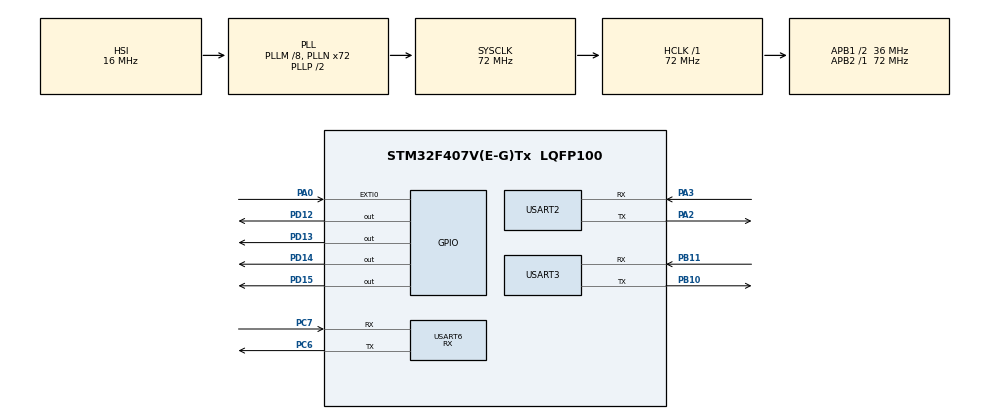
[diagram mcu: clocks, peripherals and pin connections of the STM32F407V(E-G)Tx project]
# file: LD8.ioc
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Mcu.Family=STM32F4
Mcu.Name=STM32F407V(E-G)Tx
Mcu.Package=LQFP100
NVIC.EXTI0_IRQn=true\:0\:0\:false\:true\:true\:3\:true\:true\:true
NVIC.PriorityGroup=NVIC_PRIORITYGROUP_0
NVIC.RCC_IRQn=true\:0\:0\:false\:false\:true\:true\:false\:true
NVIC.TIM2_IRQn=true\:0\:0\:false\:true\:true\:2\:true\:true\:true
NVIC.TIM3_IRQn=true\:0\:0\:false\:true\:true\:1\:true\:true\:true
NVIC.USART2_IRQn=true\:0\:0\:false\:true\:true\:4\:true\:true\:true
NVIC.USART3_IRQn=true\:0\:0\:false\:true\:true\:5\:true\:true\:true
NVIC.USART6_IRQn=true\:0\:0\:false\:true\:true\:6\:true\:true\:true
PA0-WKUP.Signal=GPXTI0
PA13.Mode=Serial_Wire
PA13.Signal=SYS_JTMS-SWDIO
PA14.Mode=Serial_Wire
PA14.Signal=SYS_JTCK-SWCLK
PA2.Mode=Asynchronous
PA2.Signal=USART2_TX
PA3.Mode=Asynchronous
PA3.Signal=USART2_RX
PB10.Mode=Asynchronous
PB10.Signal=USART3_TX
PB11.Mode=Asynchronous
PB11.Signal=USART3_RX
PC6.Mode=Asynchronous
PC6.Signal=USART6_TX
PC7.Mode=Asynchronous
PC7.Signal=USART6_RX
PD12.Signal=GPIO_Output
PD13.Signal=GPIO_Output
PD14.Signal=GPIO_Output
PD15.Signal=GPIO_Output
PH0-OSC_IN.Mode=HSE-External-Clock-Source
PH0-OSC_IN.Signal=RCC_OSC_IN
PH1-OSC_OUT.Mode=HSE-External-Clock-Source
PH1-OSC_OUT.Signal=RCC_OSC_OUT
ProjectManager.HeapSize=0x200
ProjectManager.StackSize=0x400
ProjectManager.TargetToolchain=STM32CubeIDE
RCC.48MHZClocksFreq_Value=20571428.57142857
RCC.AHBFreq_Value=72000000
RCC.APB1CLKDivider=RCC_HCLK_DIV2
RCC.APB1Freq_Value=36000000
RCC.APB1TimFreq_Value=72000000
RCC.APB2Freq_Value=72000000
RCC.APB2TimFreq_Value=72000000
RCC.CortexFreq_Value=72000000
RCC.HCLKFreq_Value=72000000
RCC.HSE_VALUE=8000000
RCC.HSI_VALUE=16000000
RCC.LSE_VALUE=32768
RCC.PLLM=8
RCC.PLLN=72
RCC.PLLQ=7
RCC.SYSCLKFreq_VALUE=72000000
RCC.SYSCLKSource=RCC_SYSCLKSOURCE_PLLCLK
RCC.VCOOutputFreq_Value=144000000
TIM2.Period=20000
TIM2.Prescaler=35999
TIM3.Period=8000
TIM3.Prescaler=36000-1
USART2.VirtualMode=VM_ASYNC
USART3.VirtualMode=VM_ASYNC
USART6.Mode=MODE_RX
USART6.VirtualMode=VM_ASYNC
VP_TIM2_VS_ClockSourceINT.Mode=Internal
VP_TIM3_VS_ClockSourceINT.Mode=Internal
board=STM32F407G-DISC1

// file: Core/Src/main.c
/* USER CODE BEGIN Header */
/**
  ******************************************************************************
  * @file           : main.c
  * @brief          : Main program body
  ******************************************************************************
  * @attention
  *
  * Copyright (c) 2024 STMicroelectronics.
  * All rights reserved.
  *
  * This software is licensed under terms that can be found in the LICENSE file
  * in the root directory of this software component.
  * If no LICENSE file comes with this software, it is provided AS-IS.
  *
  ******************************************************************************
  */
/* USER CODE END Header */
#include "main.h"

/* USER CODE BEGIN Includes */
 extern uint32_t trans_var[];
 extern uint32_t i;
/* USER CODE END Includes */

TIM_HandleTypeDef htim2;
TIM_HandleTypeDef htim3;

UART_HandleTypeDef huart2;
UART_HandleTypeDef huart3;
UART_HandleTypeDef huart6;

/* USER CODE BEGIN PV */

uint32_t Correct_value = 10;
uint32_t inputCaptureVal  = 0;
uint32_t pressDuration  = 0;
uint32_t pressStartTime  = 0;
uint32_t check  = 0;
/* USER CODE END PV */

void SystemClock_Config(void);
static void MX_GPIO_Init(void);
static void MX_TIM2_Init(void);
static void MX_TIM3_Init(void);
static void MX_USART2_UART_Init(void);
static void MX_USART3_UART_Init(void);
static void MX_USART6_UART_Init(void);
static void MX_NVIC_Init(void);

/* USER CODE BEGIN 0 */
void HAL_GPIO_EXTI_Callback(uint16_t GPIO_Pin) {

	pressDuration = 0;
	TIM2->CNT = 0;
    if (GPIO_Pin == GPIO_PIN_0) {
//        if (HAL_GPIO_ReadPin(GPIOA, GPIO_PIN_0) == GPIO_PIN_RESET) {
//            // Button is pressed, start TIM2
//        	TIM2->CNT = 0;
//            pressStartTime = HAL_GetTick(); // Record the start time
   // }

            // Button is released, stop TIM2

            uint32_t pressEndTime = HAL_GetTick();
            pressDuration = pressEndTime - pressStartTime; // Calculate press duration
        }
        if(pressDuration > 1 && pressDuration < 1500)
                {
        	//HAL_GPIO_TogglePin(GPIOD, GPIO_PIN_13);

        	if(trans_var[i] > 8 )
        	{
        		//HAL_GPIO_TogglePin(GPIOD, GPIO_PIN_13);
        		//check = 1;
        		HAL_TIM_Base_Stop_IT(&htim3);
        	}
                //	HAL_GPIO_WritePin(GPIOD, GPIO_PIN_12, GPIO_PIN_SET);
                //	HAL_GPIO_WritePin(GPIOD, GPIO_PIN_15, GPIO_PIN_RESET);
                }
        if(pressDuration >= 1500)
        {

        	if(trans_var[i] >8 )
        	{
        		//check = 0;
        		HAL_TIM_Base_Start_IT(&htim3);
        	}
        	//HAL_GPIO_TogglePin(GPIOD, GPIO_PIN_12);
        //	HAL_GPIO_WritePin(GPIOD, GPIO_PIN_12, GPIO_PIN_RESET);
        }
        pressDuration = 0;
    }

/* USER CODE END 0 */

int main(void)
{

  /* MCU Configuration--------------------------------------------------------*/

  /* Reset of all peripherals, Initializes the Flash interface and the Systick. */
  HAL_Init();

  /* Configure the system clock */
  SystemClock_Config();

  /* Initialize all configured peripherals */
  MX_GPIO_Init();
  MX_TIM2_Init();
  MX_TIM3_Init();
  MX_USART2_UART_Init();
  MX_USART3_UART_Init();
  MX_USART6_UART_Init();

  /* Initialize interrupts */
  MX_NVIC_Init();
  /* USER CODE BEGIN 2 */
  //HAL_TIM_Base_Start_IT(&htim2);
  //HAL_TIM_Base_Start(&htim2);
  HAL_TIM_Base_Start(&htim2);
  HAL_TIM_Base_Start_IT(&htim3);
  //HAL_ADC_Start_IT(&hadc1);
  /* USER CODE END 2 */

  /* Infinite loop */
  /* USER CODE BEGIN WHILE */
  while (1)
  {
	//  HAL_Delay(500);

	         if (HAL_GPIO_ReadPin(GPIOA, GPIO_PIN_0) == GPIO_PIN_RESET) {
	             // Button is pressed, start TIM2
	         	TIM2->CNT = 0;
	             pressStartTime = HAL_GetTick(); // Record the start time
	         }

    /* USER CODE END WHILE */

  }
}

void SystemClock_Config(void)
{
  RCC_OscInitTypeDef RCC_OscInitStruct = {0};
  RCC_ClkInitTypeDef RCC_ClkInitStruct = {0};

  /** Configure the main internal regulator output voltage
  */
  __HAL_RCC_PWR_CLK_ENABLE();
  __HAL_PWR_VOLTAGESCALING_CONFIG(PWR_REGULATOR_VOLTAGE_SCALE1);

  /** Initializes the RCC Oscillators according to the specified parameters
  * in the RCC_OscInitTypeDef structure.
  */
  RCC_OscInitStruct.OscillatorType = RCC_OSCILLATORTYPE_HSI;
  RCC_OscInitStruct.HSIState = RCC_HSI_ON;
  RCC_OscInitStruct.HSICalibrationValue = RCC_HSICALIBRATION_DEFAULT;
  RCC_OscInitStruct.PLL.PLLState = RCC_PLL_ON;
  RCC_OscInitStruct.PLL.PLLSource = RCC_PLLSOURCE_HSI;
  RCC_OscInitStruct.PLL.PLLM = 8;
  RCC_OscInitStruct.PLL.PLLN = 72;
  RCC_OscInitStruct.PLL.PLLP = RCC_PLLP_DIV2;
  RCC_OscInitStruct.PLL.PLLQ = 7;
  if (HAL_RCC_OscConfig(&RCC_OscInitStruct) != HAL_OK)
  {
    Error_Handler();
  }

  /** Initializes the CPU, AHB and APB buses clocks
  */
  RCC_ClkInitStruct.ClockType = RCC_CLOCKTYPE_HCLK|RCC_CLOCKTYPE_SYSCLK
                              |RCC_CLOCKTYPE_PCLK1|RCC_CLOCKTYPE_PCLK2;
  RCC_ClkInitStruct.SYSCLKSource = RCC_SYSCLKSOURCE_PLLCLK;
  RCC_ClkInitStruct.AHBCLKDivider = RCC_SYSCLK_DIV1;
  RCC_ClkInitStruct.APB1CLKDivider = RCC_HCLK_DIV2;
  RCC_ClkInitStruct.APB2CLKDivider = RCC_HCLK_DIV1;

  if (HAL_RCC_ClockConfig(&RCC_ClkInitStruct, FLASH_LATENCY_2) != HAL_OK)
  {
    Error_Handler();
  }
}

/**
  * @brief NVIC Configuration.
  * @retval None
  */
static void MX_NVIC_Init(void)
{
  /* TIM3_IRQn interrupt configuration */
  HAL_NVIC_SetPriority(TIM3_IRQn, 0, 0);
  HAL_NVIC_EnableIRQ(TIM3_IRQn);
  /* TIM2_IRQn interrupt configuration */
  HAL_NVIC_SetPriority(TIM2_IRQn, 0, 0);
  HAL_NVIC_EnableIRQ(TIM2_IRQn);
  /* EXTI0_IRQn interrupt configuration */
  HAL_NVIC_SetPriority(EXTI0_IRQn, 0, 0);
  HAL_NVIC_EnableIRQ(EXTI0_IRQn);
  /* USART2_IRQn interrupt configuration */
  HAL_NVIC_SetPriority(USART2_IRQn, 0, 0);
  HAL_NVIC_EnableIRQ(USART2_IRQn);
  /* USART3_IRQn interrupt configuration */
  HAL_NVIC_SetPriority(USART3_IRQn, 0, 0);
  HAL_NVIC_EnableIRQ(USART3_IRQn);
  /* USART6_IRQn interrupt configuration */
  HAL_NVIC_SetPriority(USART6_IRQn, 0, 0);
  HAL_NVIC_EnableIRQ(USART6_IRQn);
}

static void MX_TIM2_Init(void)
{

  TIM_ClockConfigTypeDef sClockSourceConfig = {0};
  TIM_MasterConfigTypeDef sMasterConfig = {0};

  htim2.Instance = TIM2;
  htim2.Init.Prescaler = 35999;
  htim2.Init.CounterMode = TIM_COUNTERMODE_UP;
  htim2.Init.Period = 20000;
  htim2.Init.ClockDivision = TIM_CLOCKDIVISION_DIV1;
  htim2.Init.AutoReloadPreload = TIM_AUTORELOAD_PRELOAD_DISABLE;
  if (HAL_TIM_Base_Init(&htim2) != HAL_OK)
  {
    Error_Handler();
  }
  sClockSourceConfig.ClockSource = TIM_CLOCKSOURCE_INTERNAL;
  if (HAL_TIM_ConfigClockSource(&htim2, &sClockSourceConfig) != HAL_OK)
  {
    Error_Handler();
  }
  sMasterConfig.MasterOutputTrigger = TIM_TRGO_RESET;
  sMasterConfig.MasterSlaveMode = TIM_MASTERSLAVEMODE_DISABLE;
  if (HAL_TIMEx_MasterConfigSynchronization(&htim2, &sMasterConfig) != HAL_OK)
  {
    Error_Handler();
  }

}

static void MX_TIM3_Init(void)
{

  TIM_ClockConfigTypeDef sClockSourceConfig = {0};
  TIM_MasterConfigTypeDef sMasterConfig = {0};

  htim3.Instance = TIM3;
  htim3.Init.Prescaler = 36000-1;
  htim3.Init.CounterMode = TIM_COUNTERMODE_UP;
  htim3.Init.Period = 8000;
  htim3.Init.ClockDivision = TIM_CLOCKDIVISION_DIV1;
  htim3.Init.AutoReloadPreload = TIM_AUTORELOAD_PRELOAD_DISABLE;
  if (HAL_TIM_Base_Init(&htim3) != HAL_OK)
  {
    Error_Handler();
  }
  sClockSourceConfig.ClockSource = TIM_CLOCKSOURCE_INTERNAL;
  if (HAL_TIM_ConfigClockSource(&htim3, &sClockSourceConfig) != HAL_OK)
  {
    Error_Handler();
  }
  sMasterConfig.MasterOutputTrigger = TIM_TRGO_RESET;
  sMasterConfig.MasterSlaveMode = TIM_MASTERSLAVEMODE_DISABLE;
  if (HAL_TIMEx_MasterConfigSynchronization(&htim3, &sMasterConfig) != HAL_OK)
  {
    Error_Handler();
  }

}

static void MX_USART2_UART_Init(void)
{

  huart2.Instance = USART2;
  huart2.Init.BaudRate = 115200;
  huart2.Init.WordLength = UART_WORDLENGTH_8B;
  huart2.Init.StopBits = UART_STOPBITS_1;
  huart2.Init.Parity = UART_PARITY_NONE;
  huart2.Init.Mode = UART_MODE_TX_RX;
  huart2.Init.HwFlowCtl = UART_HWCONTROL_NONE;
  huart2.Init.OverSampling = UART_OVERSAMPLING_16;
  if (HAL_UART_Init(&huart2) != HAL_OK)
  {
    Error_Handler();
  }

}

static void MX_USART3_UART_Init(void)
{

  huart3.Instance = USART3;
  huart3.Init.BaudRate = 115200;
  huart3.Init.WordLength = UART_WORDLENGTH_8B;
  huart3.Init.StopBits = UART_STOPBITS_1;
  huart3.Init.Parity = UART_PARITY_NONE;
  huart3.Init.Mode = UART_MODE_TX_RX;
  huart3.Init.HwFlowCtl = UART_HWCONTROL_NONE;
  huart3.Init.OverSampling = UART_OVERSAMPLING_16;
  if (HAL_UART_Init(&huart3) != HAL_OK)
  {
    Error_Handler();
  }

}

static void MX_USART6_UART_Init(void)
{

  huart6.Instance = USART6;
  huart6.Init.BaudRate = 115200;
  huart6.Init.WordLength = UART_WORDLENGTH_8B;
  huart6.Init.StopBits = UART_STOPBITS_1;
  huart6.Init.Parity = UART_PARITY_NONE;
  huart6.Init.Mode = UART_MODE_RX;
  huart6.Init.HwFlowCtl = UART_HWCONTROL_NONE;
  huart6.Init.OverSampling = UART_OVERSAMPLING_16;
  if (HAL_UART_Init(&huart6) != HAL_OK)
  {
    Error_Handler();
  }

}

static void MX_GPIO_Init(void)
{
  GPIO_InitTypeDef GPIO_InitStruct = {0};

  /* GPIO Ports Clock Enable */
  __HAL_RCC_GPIOH_CLK_ENABLE();
  __HAL_RCC_GPIOA_CLK_ENABLE();
  __HAL_RCC_GPIOB_CLK_ENABLE();
  __HAL_RCC_GPIOD_CLK_ENABLE();
  __HAL_RCC_GPIOC_CLK_ENABLE();

  /*Configure GPIO pin Output Level */
  HAL_GPIO_WritePin(GPIOD, GPIO_PIN_12|GPIO_PIN_13|GPIO_PIN_14|GPIO_PIN_15, GPIO_PIN_RESET);

  /*Configure GPIO pin : PA0 */
  GPIO_InitStruct.Pin = GPIO_PIN_0;
  GPIO_InitStruct.Mode = GPIO_MODE_IT_RISING;
  GPIO_InitStruct.Pull = GPIO_NOPULL;
  HAL_GPIO_Init(GPIOA, &GPIO_InitStruct);

  /*Configure GPIO pins : PD12 PD13 PD14 PD15 */
  GPIO_InitStruct.Pin = GPIO_PIN_12|GPIO_PIN_13|GPIO_PIN_14|GPIO_PIN_15;
  GPIO_InitStruct.Mode = GPIO_MODE_OUTPUT_PP;
  GPIO_InitStruct.Pull = GPIO_NOPULL;
  GPIO_InitStruct.Speed = GPIO_SPEED_FREQ_LOW;
  HAL_GPIO_Init(GPIOD, &GPIO_InitStruct);

}

void Error_Handler(void)
{
  __disable_irq();
  while (1)
  {
  }
}
